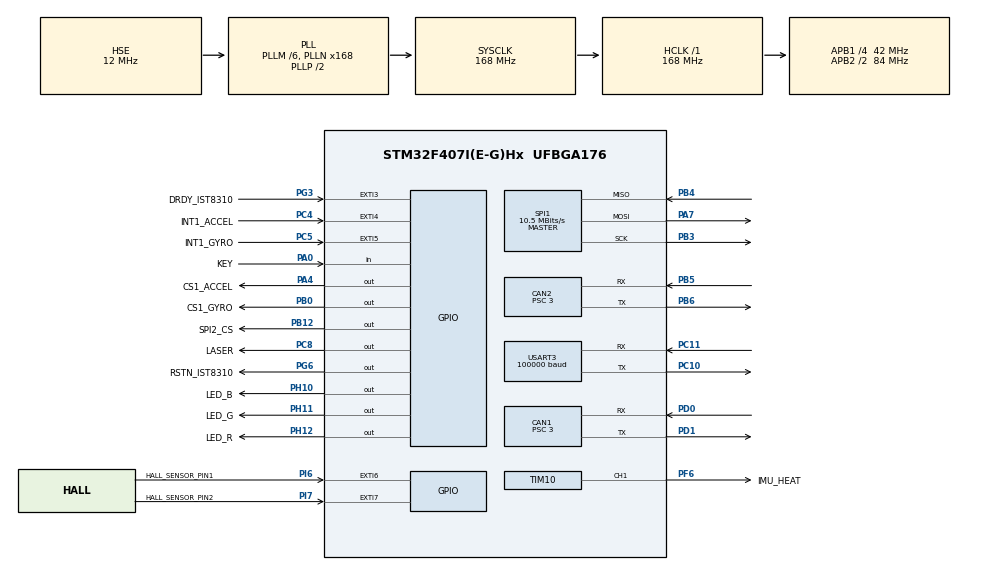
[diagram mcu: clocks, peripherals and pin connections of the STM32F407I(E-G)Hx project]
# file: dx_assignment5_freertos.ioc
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CAN1.ABOM=ENABLE
CAN1.AWUM=ENABLE
CAN1.BS1=CAN_BS1_7TQ
CAN1.BS2=CAN_BS2_6TQ
CAN1.CalculateBaudRate=1000000
CAN1.CalculateTimeBit=1000
CAN1.CalculateTimeQuantum=71.42857142857143
CAN1.Mode=CAN_MODE_NORMAL
CAN1.NART=ENABLE
CAN1.Prescaler=3
CAN1.TXFP=ENABLE
CAN2.BS1=CAN_BS1_7TQ
CAN2.BS2=CAN_BS2_6TQ
CAN2.CalculateBaudRate=1000000
CAN2.CalculateTimeBit=1000
CAN2.CalculateTimeQuantum=71.42857142857143
CAN2.Prescaler=3
Dma.Request0=SPI1_RX
Dma.Request1=SPI1_TX
Dma.Request2=USART3_RX
Dma.SPI1_RX.0.Direction=DMA_PERIPH_TO_MEMORY
Dma.SPI1_RX.0.FIFOMode=DMA_FIFOMODE_DISABLE
Dma.SPI1_RX.0.Instance=DMA2_Stream2
Dma.SPI1_RX.0.MemDataAlignment=DMA_MDATAALIGN_BYTE
Dma.SPI1_RX.0.MemInc=DMA_MINC_ENABLE
Dma.SPI1_RX.0.Mode=DMA_NORMAL
Dma.SPI1_RX.0.PeriphDataAlignment=DMA_PDATAALIGN_BYTE
Dma.SPI1_RX.0.PeriphInc=DMA_PINC_DISABLE
Dma.SPI1_RX.0.Priority=DMA_PRIORITY_VERY_HIGH
Dma.SPI1_TX.1.Direction=DMA_MEMORY_TO_PERIPH
Dma.SPI1_TX.1.FIFOMode=DMA_FIFOMODE_DISABLE
Dma.SPI1_TX.1.Instance=DMA2_Stream3
Dma.SPI1_TX.1.MemDataAlignment=DMA_MDATAALIGN_BYTE
Dma.SPI1_TX.1.MemInc=DMA_MINC_ENABLE
Dma.SPI1_TX.1.Mode=DMA_NORMAL
Dma.SPI1_TX.1.PeriphDataAlignment=DMA_PDATAALIGN_BYTE
Dma.SPI1_TX.1.PeriphInc=DMA_PINC_DISABLE
Dma.SPI1_TX.1.Priority=DMA_PRIORITY_HIGH
Dma.USART3_RX.2.Direction=DMA_PERIPH_TO_MEMORY
Dma.USART3_RX.2.FIFOMode=DMA_FIFOMODE_DISABLE
Dma.USART3_RX.2.Instance=DMA1_Stream1
Dma.USART3_RX.2.MemDataAlignment=DMA_MDATAALIGN_BYTE
Dma.USART3_RX.2.MemInc=DMA_MINC_ENABLE
Dma.USART3_RX.2.Mode=DMA_CIRCULAR
Dma.USART3_RX.2.PeriphDataAlignment=DMA_PDATAALIGN_BYTE
Dma.USART3_RX.2.PeriphInc=DMA_PINC_DISABLE
Dma.USART3_RX.2.Priority=DMA_PRIORITY_HIGH
FREERTOS.CountingSemaphores01=CAN1CountingSem,3,Dynamic,NULL,3;CAN2CountingSem,3,Dynamic,NULL,3
FREERTOS.Queues01=can1_send_fifo,16,can_device_transmit_member,0,Dynamic,NULL,NULL;can2_send_fifo,16,can_device_transmit_member,0,Dynamic,NULL,NULL
FREERTOS.Tasks01=CAN1_Sending_Service,40,256,can1_sending_service,As weak,NULL,Dynamic,NULL,NULL;CAN2_Sending_Service,40,256,can2_sending_service,As weak,NULL,Dynamic,NULL,NULL;DJI_Motor_Service,40,256,DJI_motor_service,As weak,NULL,Dynamic,NULL,NULL;LED_TASK,8,256,led_task,As weak,NULL,Dynamic,NULL,NULL;DJI_MOTOR_DRIVER,40,256,dji_motor_driver,As weak,NULL,Dynamic,NULL,NULL;POWER_RECEIVER,24,256,power_receiver,As weak,NULL,Dynamic,NULL,NULL;REMOTE_CONTROLER,24,256,remote_controler,As weak,NULL,Dynamic,NULL,NULL
FREERTOS.configMAX_TASK_NAME_LEN=32
FREERTOS.configMINIMAL_STACK_SIZE=128
FREERTOS.configTOTAL_HEAP_SIZE=50000
FREERTOS.configUSE_NEWLIB_REENTRANT=1
Mcu.Family=STM32F4
Mcu.Name=STM32F407I(E-G)Hx
Mcu.Package=UFBGA176
NVIC.CAN1_RX0_IRQn=true\:5\:0\:false\:false\:true\:true\:true\:true\:true
NVIC.CAN1_TX_IRQn=true\:5\:0\:false\:false\:true\:true\:true\:true\:true
NVIC.CAN2_RX1_IRQn=true\:5\:0\:false\:false\:true\:true\:true\:true\:true
NVIC.CAN2_TX_IRQn=true\:5\:0\:false\:false\:true\:true\:true\:true\:true
NVIC.DMA1_Stream1_IRQn=true\:5\:0\:false\:false\:true\:true\:false\:true\:true
NVIC.DMA2_Stream2_IRQn=true\:0\:0\:false\:false\:true\:false\:false\:true\:true
NVIC.DMA2_Stream3_IRQn=true\:5\:0\:false\:false\:true\:true\:false\:true\:true
NVIC.EXTI3_IRQn=true\:5\:0\:false\:false\:true\:true\:true\:true\:true
NVIC.EXTI4_IRQn=true\:5\:0\:false\:false\:true\:true\:true\:true\:true
NVIC.EXTI9_5_IRQn=true\:5\:0\:false\:false\:true\:true\:true\:true\:true
NVIC.PriorityGroup=NVIC_PRIORITYGROUP_4
NVIC.TIM7_IRQn=true\:15\:0\:false\:false\:true\:false\:false\:true\:true
NVIC.TimeBase=TIM7_IRQn
NVIC.TimeBaseIP=TIM7
NVIC.USART3_IRQn=true\:5\:0\:false\:false\:true\:true\:true\:true\:true
PA0-WKUP.GPIO_Label=KEY
PA0-WKUP.GPIO_PuPd=GPIO_PULLUP
PA0-WKUP.Signal=GPIO_Input
PA13.Mode=Serial_Wire
PA13.Signal=SYS_JTMS-SWDIO
PA14.Mode=Serial_Wire
PA14.Signal=SYS_JTCK-SWCLK
PA4.GPIO_Label=CS1_ACCEL
PA4.GPIO_PuPd=GPIO_PULLUP
PA4.GPIO_Speed=GPIO_SPEED_FREQ_HIGH
PA4.Signal=GPIO_Output
PA7.GPIO_PuPd=GPIO_PULLUP
PA7.Mode=Full_Duplex_Master
PA7.Signal=SPI1_MOSI
PB0.GPIO_Label=CS1_GYRO
PB0.GPIO_PuPd=GPIO_PULLUP
PB0.GPIO_Speed=GPIO_SPEED_FREQ_HIGH
PB0.Signal=GPIO_Output
PB12.GPIO_Label=SPI2_CS
PB12.GPIO_PuPd=GPIO_PULLUP
PB12.GPIO_Speed=GPIO_SPEED_FREQ_MEDIUM
PB12.Signal=GPIO_Output
PB3.GPIO_PuPd=GPIO_PULLUP
PB3.Mode=Full_Duplex_Master
PB3.Signal=SPI1_SCK
PB4.GPIO_PuPd=GPIO_PULLUP
PB4.Mode=Full_Duplex_Master
PB4.Signal=SPI1_MISO
PB5.Mode=CAN_Activate
PB5.Signal=CAN2_RX
PB6.Mode=CAN_Activate
PB6.Signal=CAN2_TX
PC10.Mode=Asynchronous
PC10.Signal=USART3_TX
PC11.Mode=Asynchronous
PC11.Signal=USART3_RX
PC4.GPIO_Label=INT1_ACCEL
PC4.GPIO_PuPd=GPIO_PULLUP
PC4.Signal=GPXTI4
PC5.GPIO_Label=INT1_GYRO
PC5.GPIO_PuPd=GPIO_PULLUP
PC5.Signal=GPXTI5
PC8.GPIO_Label=LASER
PC8.Signal=GPIO_Output
PD0.Mode=CAN_Activate
PD0.Signal=CAN1_RX
PD1.Mode=CAN_Activate
PD1.Signal=CAN1_TX
PF6.GPIO_Label=IMU_HEAT
PF6.GPIO_PuPd=GPIO_PULLUP
PF6.GPIO_Speed=GPIO_SPEED_FREQ_HIGH
PF6.Signal=S_TIM10_CH1
PG3.GPIO_Label=DRDY_IST8310
PG3.GPIO_PuPd=GPIO_PULLUP
PG3.Signal=GPXTI3
PG6.GPIO_Label=RSTN_IST8310
PG6.GPIO_PuPd=GPIO_PULLUP
PG6.GPIO_Speed=GPIO_SPEED_FREQ_MEDIUM
PG6.PinState=GPIO_PIN_SET
PG6.Signal=GPIO_Output
PH0-OSC_IN.Mode=HSE-External-Oscillator
PH0-OSC_IN.Signal=RCC_OSC_IN
PH1-OSC_OUT.Mode=HSE-External-Oscillator
PH1-OSC_OUT.Signal=RCC_OSC_OUT
PH10.GPIO_Label=LED_B
PH10.Signal=GPIO_Output
PH11.GPIO_Label=LED_G
PH11.Signal=GPIO_Output
PH12.GPIO_Label=LED_R
PH12.Signal=GPIO_Output
PI6.GPIO_Label=HALL_SENSOR_PIN1
PI6.Signal=GPXTI6
PI7.GPIO_Label=HALL_SENSOR_PIN2
PI7.Signal=GPXTI7
ProjectManager.HeapSize=0x200
ProjectManager.StackSize=0x400
ProjectManager.TargetToolchain=CMake
RCC.48MHZClocksFreq_Value=84000000
RCC.AHBFreq_Value=168000000
RCC.APB1CLKDivider=RCC_HCLK_DIV4
RCC.APB1Freq_Value=42000000
RCC.APB1TimFreq_Value=84000000
RCC.APB2CLKDivider=RCC_HCLK_DIV2
RCC.APB2Freq_Value=84000000
RCC.APB2TimFreq_Value=168000000
RCC.CortexFreq_Value=168000000
RCC.HCLKFreq_Value=168000000
RCC.HSE_VALUE=12000000
RCC.HSI_VALUE=16000000
RCC.LSE_VALUE=32768
RCC.PLLM=6
RCC.PLLN=168
RCC.PLLSourceVirtual=RCC_PLLSOURCE_HSE
RCC.SYSCLKFreq_VALUE=168000000
RCC.SYSCLKSource=RCC_SYSCLKSOURCE_PLLCLK
RCC.VCOOutputFreq_Value=336000000
SH.S_TIM10_CH1.0=TIM10_CH1,PWM Generation1 CH1
SPI1.BaudRatePrescaler=SPI_BAUDRATEPRESCALER_8
SPI1.CLKPhase=SPI_PHASE_2EDGE
SPI1.CLKPolarity=SPI_POLARITY_HIGH
SPI1.CalculateBaudRate=10.5 MBits/s
SPI1.Direction=SPI_DIRECTION_2LINES
SPI1.Mode=SPI_MODE_MASTER
SPI1.VirtualType=VM_MASTER
STMicroelectronics.X-CUBE-ALGOBUILD.1.5.0.LibraryCcDSPOoLibraryJjDSPOoLibrary=true
TIM10.Channel=TIM_CHANNEL_1
TIM10.Period=1999
TIM10.Prescaler=83
USART3.BaudRate=100000
USART3.Parity=PARITY_EVEN
USART3.VirtualMode=VM_ASYNC
USART3.WordLength=WORDLENGTH_9B
VP_FREERTOS_VS_CMSIS_V2.Mode=CMSIS_V2
VP_STMicroelectronics.X-CUBE-ALGOBUILD_VS_DSPOoLibraryJjLibrary_1.5.0_1.5.0.Mode=DSPOoLibraryJjLibrary
VP_SYS_VS_tim7.Mode=TIM7
VP_TIM10_VS_ClockSourceINT.Mode=Enable_Timer
board=custom

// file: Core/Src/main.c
/* USER CODE BEGIN Header */
/**
  ******************************************************************************
  * @file           : main.c
  * @brief          : Main program body
  ******************************************************************************
  * @attention
  *
  * Copyright (c) 2026 STMicroelectronics.
  * All rights reserved.
  *
  * This software is licensed under terms that can be found in the LICENSE file
  * in the root directory of this software component.
  * If no LICENSE file comes with this software, it is provided AS-IS.
  *
  ******************************************************************************
  */
/* USER CODE END Header */
#include "main.h"
#include "cmsis_os.h"
#include "can.h"
#include "dma.h"
#include "spi.h"
#include "tim.h"
#include "usart.h"
#include "gpio.h"

/* USER CODE BEGIN Includes */
#include "bsp_uart.h"
#include "BMI088driver.h"
#include "bsp_dwt.h"
#include "ins_task.h"
/* USER CODE END Includes */

void SystemClock_Config(void);
void MX_FREERTOS_Init(void);

/* USER CODE BEGIN 0 */
void bsp_can_init() {
    HAL_CAN_Start(&hcan1);
    HAL_CAN_ActivateNotification(&hcan1,  CAN_IT_RX_FIFO0_MSG_PENDING | CAN_IT_TX_MAILBOX_EMPTY);
    HAL_CAN_Start(&hcan2);
    HAL_CAN_ActivateNotification(&hcan2,  CAN_IT_RX_FIFO1_MSG_PENDING | CAN_IT_TX_MAILBOX_EMPTY);
}
/* USER CODE END 0 */

int main(void)
{

  /* USER CODE BEGIN 1 */
  __HAL_RCC_SYSCLK_CONFIG(RCC_SYSCLKSOURCE_HSI);
  /* USER CODE END 1 */

  /* MCU Configuration--------------------------------------------------------*/

  /* Reset of all peripherals, Initializes the Flash interface and the Systick. */
  HAL_Init();

  /* Configure the system clock */
  SystemClock_Config();

  /* Initialize all configured peripherals */
  MX_GPIO_Init();
  MX_DMA_Init();
  MX_CAN1_Init();
  MX_CAN2_Init();
  MX_USART3_UART_Init();
  MX_SPI1_Init();
  MX_TIM10_Init();
  /* USER CODE BEGIN 2 */
  DWT_Init(168);
  while (BMI088_init(&hspi1, 1) != BMI088_NO_ERROR)
    ;
  INS_Init();
  bsp_can_init();
  BSP_UART_StartReceive();
  /* USER CODE END 2 */

  /* Init scheduler */
  osKernelInitialize();  /* Call init function for freertos objects (in cmsis_os2.c) */
  MX_FREERTOS_Init();

  /* Start scheduler */
  osKernelStart();

  /* We should never get here as control is now taken by the scheduler */

  /* Infinite loop */
  while (1)
  {

  }
}

void SystemClock_Config(void)
{
  RCC_OscInitTypeDef RCC_OscInitStruct = {0};
  RCC_ClkInitTypeDef RCC_ClkInitStruct = {0};

  /** Configure the main internal regulator output voltage
  */
  __HAL_RCC_PWR_CLK_ENABLE();
  __HAL_PWR_VOLTAGESCALING_CONFIG(PWR_REGULATOR_VOLTAGE_SCALE1);

  /** Initializes the RCC Oscillators according to the specified parameters
  * in the RCC_OscInitTypeDef structure.
  */
  RCC_OscInitStruct.OscillatorType = RCC_OSCILLATORTYPE_HSE;
  RCC_OscInitStruct.HSEState = RCC_HSE_ON;
  RCC_OscInitStruct.PLL.PLLState = RCC_PLL_ON;
  RCC_OscInitStruct.PLL.PLLSource = RCC_PLLSOURCE_HSE;
  RCC_OscInitStruct.PLL.PLLM = 6;
  RCC_OscInitStruct.PLL.PLLN = 168;
  RCC_OscInitStruct.PLL.PLLP = RCC_PLLP_DIV2;
  RCC_OscInitStruct.PLL.PLLQ = 4;
  if (HAL_RCC_OscConfig(&RCC_OscInitStruct) != HAL_OK)
  {
    Error_Handler();
  }

  /** Initializes the CPU, AHB and APB buses clocks
  */
  RCC_ClkInitStruct.ClockType = RCC_CLOCKTYPE_HCLK|RCC_CLOCKTYPE_SYSCLK
                              |RCC_CLOCKTYPE_PCLK1|RCC_CLOCKTYPE_PCLK2;
  RCC_ClkInitStruct.SYSCLKSource = RCC_SYSCLKSOURCE_PLLCLK;
  RCC_ClkInitStruct.AHBCLKDivider = RCC_SYSCLK_DIV1;
  RCC_ClkInitStruct.APB1CLKDivider = RCC_HCLK_DIV4;
  RCC_ClkInitStruct.APB2CLKDivider = RCC_HCLK_DIV2;

  if (HAL_RCC_ClockConfig(&RCC_ClkInitStruct, FLASH_LATENCY_5) != HAL_OK)
  {
    Error_Handler();
  }
}

void HAL_TIM_PeriodElapsedCallback(TIM_HandleTypeDef *htim)
{
  if (htim->Instance == TIM7)
  {
    HAL_IncTick();
  }
}

void Error_Handler(void)
{
  __disable_irq();
  while (1)
  {
  }
}

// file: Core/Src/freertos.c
/* USER CODE BEGIN Header */
/**
  ******************************************************************************
  * File Name          : freertos.c
  * Description        : Code for freertos applications
  ******************************************************************************
  * @attention
  *
  * Copyright (c) 2026 STMicroelectronics.
  * All rights reserved.
  *
  * This software is licensed under terms that can be found in the LICENSE file
  * in the root directory of this software component.
  * If no LICENSE file comes with this software, it is provided AS-IS.
  *
  ******************************************************************************
  */
/* USER CODE END Header */

#include "FreeRTOS.h"
#include "task.h"
#include "main.h"
#include "cmsis_os.h"

/* USER CODE BEGIN PTD */
typedef struct {
    CAN_HandleTypeDef *hcan;
    uint32_t id;
    uint8_t len;
    uint8_t *buf_data;
}can_device_transmit_member;
/* USER CODE END PTD */

/* Definitions for CAN1_Sending_Service */
osThreadId_t CAN1_Sending_ServiceHandle;
const osThreadAttr_t CAN1_Sending_Service_attributes = {
  .name = "CAN1_Sending_Service",
  .stack_size = 256 * 4,
  .priority = (osPriority_t) osPriorityHigh,
};
/* Definitions for CAN2_Sending_Service */
osThreadId_t CAN2_Sending_ServiceHandle;
const osThreadAttr_t CAN2_Sending_Service_attributes = {
  .name = "CAN2_Sending_Service",
  .stack_size = 256 * 4,
  .priority = (osPriority_t) osPriorityHigh,
};
/* Definitions for DJI_Motor_Service */
osThreadId_t DJI_Motor_ServiceHandle;
const osThreadAttr_t DJI_Motor_Service_attributes = {
  .name = "DJI_Motor_Service",
  .stack_size = 256 * 4,
  .priority = (osPriority_t) osPriorityHigh,
};
/* Definitions for LED_TASK */
osThreadId_t LED_TASKHandle;
const osThreadAttr_t LED_TASK_attributes = {
  .name = "LED_TASK",
  .stack_size = 256 * 4,
  .priority = (osPriority_t) osPriorityLow,
};
/* Definitions for DJI_MOTOR_DRIVER */
osThreadId_t DJI_MOTOR_DRIVERHandle;
const osThreadAttr_t DJI_MOTOR_DRIVER_attributes = {
  .name = "DJI_MOTOR_DRIVER",
  .stack_size = 256 * 4,
  .priority = (osPriority_t) osPriorityHigh,
};
/* Definitions for POWER_RECEIVER */
osThreadId_t POWER_RECEIVERHandle;
const osThreadAttr_t POWER_RECEIVER_attributes = {
  .name = "POWER_RECEIVER",
  .stack_size = 256 * 4,
  .priority = (osPriority_t) osPriorityNormal,
};
/* Definitions for REMOTE_CONTROLER */
osThreadId_t REMOTE_CONTROLERHandle;
const osThreadAttr_t REMOTE_CONTROLER_attributes = {
  .name = "REMOTE_CONTROLER",
  .stack_size = 256 * 4,
  .priority = (osPriority_t) osPriorityNormal,
};
/* Definitions for can1_send_fifo */
osMessageQueueId_t can1_send_fifoHandle;
const osMessageQueueAttr_t can1_send_fifo_attributes = {
  .name = "can1_send_fifo"
};
/* Definitions for can2_send_fifo */
osMessageQueueId_t can2_send_fifoHandle;
const osMessageQueueAttr_t can2_send_fifo_attributes = {
  .name = "can2_send_fifo"
};
/* Definitions for CAN1CountingSem */
osSemaphoreId_t CAN1CountingSemHandle;
const osSemaphoreAttr_t CAN1CountingSem_attributes = {
  .name = "CAN1CountingSem"
};
/* Definitions for CAN2CountingSem */
osSemaphoreId_t CAN2CountingSemHandle;
const osSemaphoreAttr_t CAN2CountingSem_attributes = {
  .name = "CAN2CountingSem"
};

void can1_sending_service(void *argument);
void can2_sending_service(void *argument);
void DJI_motor_service(void *argument);
void led_task(void *argument);
void dji_motor_driver(void *argument);
void power_receiver(void *argument);
void remote_controler(void *argument);

void MX_FREERTOS_Init(void); /* (MISRA C 2004 rule 8.1) */

void MX_FREERTOS_Init(void) {

  /* Create the semaphores(s) */
  /* creation of CAN1CountingSem */
  CAN1CountingSemHandle = osSemaphoreNew(3, 3, &CAN1CountingSem_attributes);

  /* creation of CAN2CountingSem */
  CAN2CountingSemHandle = osSemaphoreNew(3, 3, &CAN2CountingSem_attributes);

  /* Create the queue(s) */
  /* creation of can1_send_fifo */
  can1_send_fifoHandle = osMessageQueueNew (16, sizeof(can_device_transmit_member), &can1_send_fifo_attributes);

  /* creation of can2_send_fifo */
  can2_send_fifoHandle = osMessageQueueNew (16, sizeof(can_device_transmit_member), &can2_send_fifo_attributes);

  /* Create the thread(s) */
  /* creation of CAN1_Sending_Service */
  CAN1_Sending_ServiceHandle = osThreadNew(can1_sending_service, NULL, &CAN1_Sending_Service_attributes);

  /* creation of CAN2_Sending_Service */
  CAN2_Sending_ServiceHandle = osThreadNew(can2_sending_service, NULL, &CAN2_Sending_Service_attributes);

  /* creation of DJI_Motor_Service */
  DJI_Motor_ServiceHandle = osThreadNew(DJI_motor_service, NULL, &DJI_Motor_Service_attributes);

  /* creation of LED_TASK */
  LED_TASKHandle = osThreadNew(led_task, NULL, &LED_TASK_attributes);

  /* creation of DJI_MOTOR_DRIVER */
  DJI_MOTOR_DRIVERHandle = osThreadNew(dji_motor_driver, NULL, &DJI_MOTOR_DRIVER_attributes);

  /* creation of POWER_RECEIVER */
  POWER_RECEIVERHandle = osThreadNew(power_receiver, NULL, &POWER_RECEIVER_attributes);

  /* creation of REMOTE_CONTROLER */
  REMOTE_CONTROLERHandle = osThreadNew(remote_controler, NULL, &REMOTE_CONTROLER_attributes);

}

__weak void can1_sending_service(void *argument)
{
  for(;;)
  {
    osDelay(1);
  }
}

__weak void can2_sending_service(void *argument)
{
  for(;;)
  {
    osDelay(1);
  }
}

__weak void DJI_motor_service(void *argument)
{
  for(;;)
  {
    osDelay(1);
  }
}

__weak void led_task(void *argument)
{
  for(;;)
  {
    osDelay(1);
  }
}

__weak void dji_motor_driver(void *argument)
{
  for(;;)
  {
    osDelay(1);
  }
}

__weak void power_receiver(void *argument)
{
  for(;;)
  {
    osDelay(1);
  }
}

__weak void remote_controler(void *argument)
{
  for(;;)
  {
    osDelay(1);
  }
}
